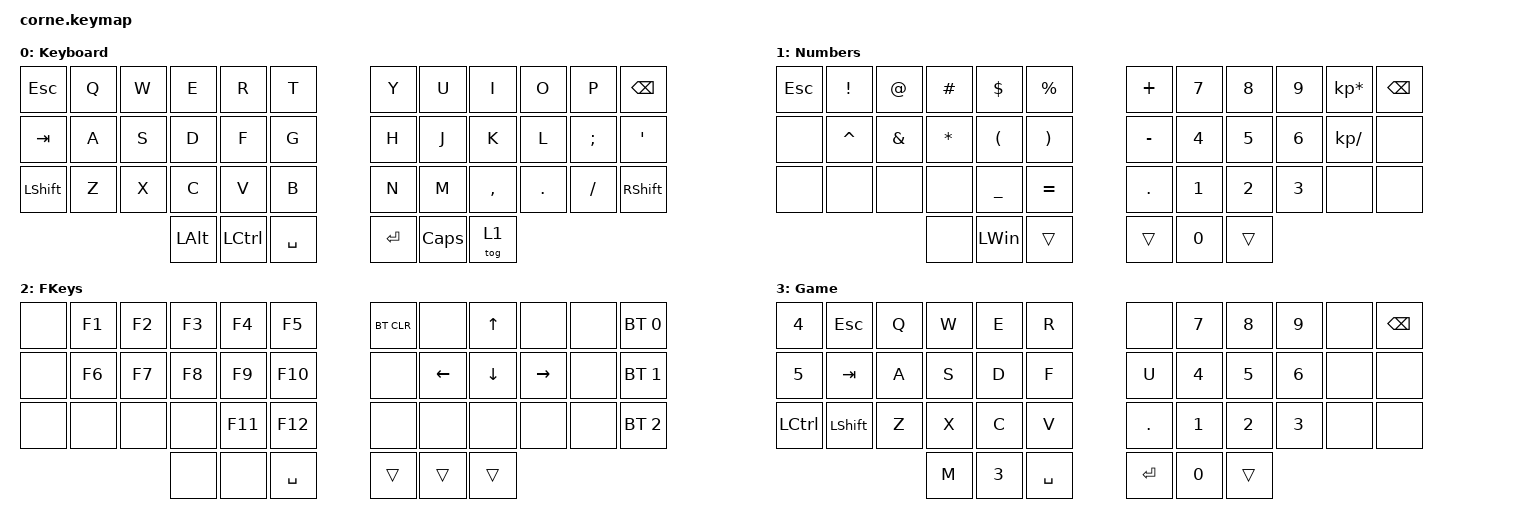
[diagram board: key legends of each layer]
/*
 * Copyright (c) 2020 The ZMK Contributors
 *
 * SPDX-License-Identifier: MIT
 */

#include <behaviors.dtsi>
#include <dt-bindings/zmk/bt.h>
#include <dt-bindings/zmk/keys.h>

/ {
    combos {
        compatible = "zmk,combos";

        Fkeys {
            bindings = <&tog 2>;
            key-positions = <41 40>;
        };

        Arrows {
            bindings = <&tog 3>;
            key-positions = <40 41 39>;
        };
    };

    keymap {
        compatible = "zmk,keymap";

        Keyboard {
            bindings = <
&kp ESCAPE  &kp Q  &kp W  &kp E         &kp R      &kp T        &kp Y    &kp U         &kp I      &kp O    &kp P     &kp BSPC
&kp TAB     &kp A  &kp S  &kp D         &kp F      &kp G        &kp H    &kp J         &kp K      &kp L    &kp SEMI  &kp SQT
&kp LSHFT   &kp Z  &kp X  &kp C         &kp V      &kp B        &kp N    &kp M         &kp COMMA  &kp DOT  &kp FSLH  &kp RIGHT_SHIFT
                          &kp LEFT_ALT  &kp LCTRL  &kp SPACE    &kp RET  &kp CAPSLOCK  &tog 1
            >;
        };

        Numbers {
            bindings = <
&kp ESCAPE  &kp EXCLAMATION  &kp AT_SIGN    &kp HASH      &kp DOLLAR            &kp PERCENT              &kp PLUS   &kp N7  &kp N8  &kp N9  &kp KP_MULTIPLY  &kp BACKSPACE
&none       &kp CARET        &kp AMPERSAND  &kp ASTERISK  &kp LEFT_PARENTHESIS  &kp RIGHT_PARENTHESIS    &kp MINUS  &kp N4  &kp N5  &kp N6  &kp KP_DIVIDE    &none
&none       &none            &none          &none         &kp UNDER             &kp EQUAL                &kp DOT    &kp N1  &kp N2  &kp N3  &none            &none
                                            &none         &kp LEFT_WIN          &trans                   &trans     &kp N0  &trans
            >;
        };

        FKeys {
            bindings = <
&none  &kp F1  &kp F2  &kp F3  &kp F4   &kp F5       &bt BT_CLR  &none     &kp UP_ARROW  &none      &none  &bt BT_SEL 0
&none  &kp F6  &kp F7  &kp F8  &kp F9   &kp F10      &none       &kp LEFT  &kp DOWN      &kp RIGHT  &none  &bt BT_SEL 1
&none  &none   &none   &none   &kp F11  &kp F12      &none       &none     &none         &none      &none  &bt BT_SEL 2
                       &none   &none    &kp SPACE    &trans      &trans    &trans
            >;
        };

        Game {
            bindings = <
&kp NUMBER_4      &kp ESCAPE      &kp Q  &kp W  &kp E         &kp R        &none       &kp NUMBER_7  &kp NUMBER_8  &kp NUMBER_9  &none  &kp BACKSPACE
&kp N5            &kp TAB         &kp A  &kp S  &kp D         &kp F        &kp U       &kp NUMBER_4  &kp NUMBER_5  &kp NUMBER_6  &none  &none
&kp LEFT_CONTROL  &kp LEFT_SHIFT  &kp Z  &kp X  &kp C         &kp V        &kp PERIOD  &kp NUMBER_1  &kp NUMBER_2  &kp NUMBER_3  &none  &none
                                         &kp M  &kp NUMBER_3  &kp SPACE    &kp ENTER   &kp NUMBER_0  &trans
            >;
        };
    };
};
